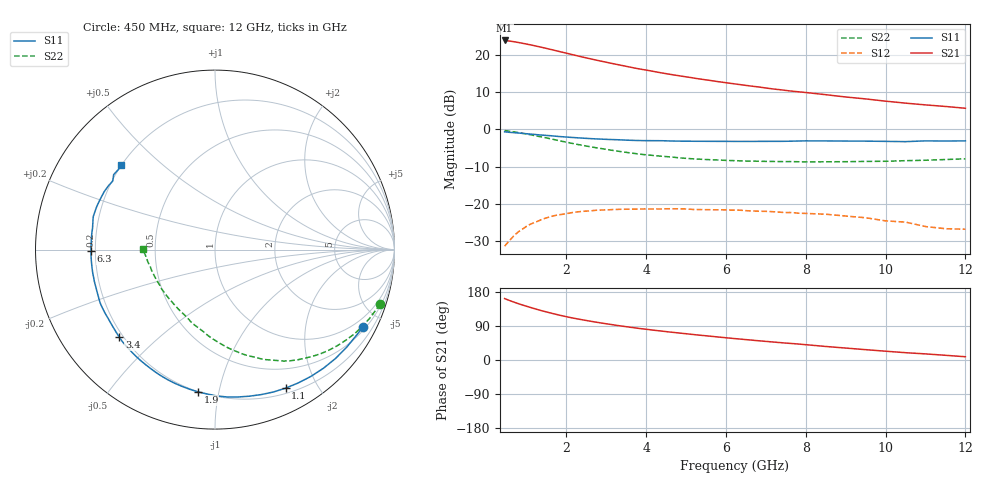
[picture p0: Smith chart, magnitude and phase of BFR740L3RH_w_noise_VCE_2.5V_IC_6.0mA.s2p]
! (c) 2012  Infineon Technologies AG, Munich
! Infineon Technologies  Discrete & RF Semiconductors
! BFR740L3RH
! VCE =  2.5 V,  IC =  6.0 mA
! Common Emitter S-Parameters:  May 2012
# GHz  S  MA  R  50
!  f  S11  S21  S12  S22
! GHz  MAG  ANG  MAG  ANG  MAG  ANG  MAG  ANG
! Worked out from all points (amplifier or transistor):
!   85 points, 450 MHz to 12 GHz, reference 50 ohm
!   highest |S21| = 24.0 dB at 450 MHz (marker M1)
!   |S21| within 3 dB of that: start of sweep to 1.832 GHz
!   unconditionally stable (mu >= 1): 8.907 GHz to end of sweep
!   at 1.8 GHz: K = 0.14, MSG = 22.0 dB, |S12| = -23.0 dB
!   at 4.6 GHz: K = 0.39, MSG = 18.1 dB, |S12| = -21.3 dB
!   at 12 GHz: K = 2.23, MAG = 10.0 dB, |S12| = -26.8 dB
!   lowest NFmin = 0.43 dB at 450 MHz
!   S11 on the Smith chart (normalised r, x): 450 MHz: 0.62, -3.96; 1.1 GHz: 0.26, -1.60; 1.9 GHz: 0.20, -0.87; 3.4 GHz: 0.18, -0.38; 6.3 GHz: 0.18, -0.01; 12 GHz: 0.20, +0.37
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0.45  0.9299 -27.7  15.77 162.1  0.0269 66.4  0.9681 -18.3
0.6  0.9133 -36.5  15.4 155.9  0.0332 69.2  0.9425 -24.0
0.8  0.8955 -47.6  14.79 148.5  0.0421 61.5  0.9066 -31.3
0.9  0.8859 -52.9  14.45 145.1  0.0457 58.5  0.8873 -34.6
1.1  0.8663 -63.0  13.75 138.6  0.0533 53.2  0.8481 -41.2
1.3  0.8477 -72.4  13.03 132.4  0.0589 48.1  0.8073 -47.3
1.4  0.8387 -76.9  12.67 129.5  0.0621 45.7  0.7873 -50.1
1.6  0.8242 -85.2  11.96 124.1  0.067 40.5  0.7494 -55.7
1.9  0.7979 -96.9  10.95 116.5  0.0722 35.8  0.6909 -63.0
2.1  0.7834 -103.8  10.31 112.0  0.0754 32.1  0.6575 -67.5
2.4  0.7648 -113.1  9.438 106.1  0.079 27.6  0.6123 -73.7
2.7  0.7486 -121.1  8.691 100.6  0.0814 23.0  0.5728 -79.2
2.9  0.7403 -126.2  8.238 97.2  0.0825 20.2  0.5504 -82.7
3.4  0.7226 -137.6  7.251 89.3  0.0843 14.8  0.5006 -90.9
3.8  0.7102 -145.2  6.568 83.6  0.0847 10.7  0.4687 -96.9
4.3  0.7063 -153.4  5.88 77.3  0.0851 7.2  0.4407 -103.4
5.2  0.6939 -166.6  4.911 67.0  0.0837 0.4  0.402 -115.0
6.3  0.6904 -179.2  4.048 55.7  0.0821 -5.8  0.3793 -128.1
7.2  0.6924 171.8  3.499 47.3  0.0781 -10.0  0.3709 -138.5
8.5  0.7013 159.8  2.937 35.7  0.0724 -16.7  0.3674 -152.4
10.5  0.6859 146.2  2.261 19.3  0.0567 -22.0  0.3804 -169.6
12  0.7025 138.0  1.929 8.6  0.0455 -15.4  0.4032 179.7
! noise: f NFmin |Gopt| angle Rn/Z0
0.45  0.43  0.42  3  0.14
0.9  0.45  0.41  16  0.13
1.5  0.47  0.42  30  0.11
1.9  0.5  0.43  38  0.11
2.4  0.53  0.42  50  0.11
3.5  0.62  0.43  68  0.09
5.5  0.82  0.44  100  0.09
8  1.08  0.41  138  0.08
10  1.28  0.43  164  0.06
12  1.48  0.46  -164  0.05
